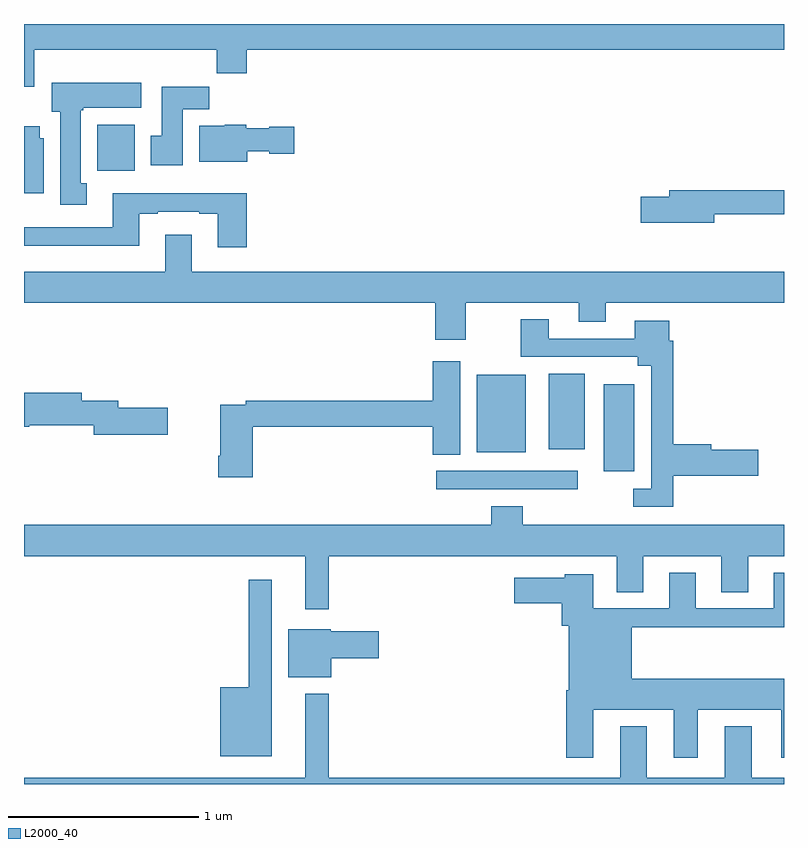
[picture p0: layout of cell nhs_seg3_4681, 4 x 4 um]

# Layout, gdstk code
import gdstk
lib = gdstk.Library(unit=1e-6, precision=1e-09)
def R(c, l, rs):  # rectangles x0, y0, x1, y1
    for r in rs: c.add(gdstk.rectangle(r[:2], r[2:], *l))
def P(c, l, *ps):  # polygons
    for p in ps: c.add(gdstk.Polygon(p, *l))
L2000_40 = (2000, 40)

nhs_seg3_4681 = lib.new_cell('nhs_seg3_4681')
R(nhs_seg3_4681, L2000_40, [(365.169,683.952,365.914,684.048), (366.05,684.047,366.211,684.505), (365.384,684.146,365.641,684.553), (365.762,684.161,365.95,684.559), (363.386,685.628,363.583,685.87)])
P(nhs_seg3_4681, L2000_40, [(363.055,686.264),(364.015,686.264),(364.015,686.14),(364.172,686.14),(364.172,686.264),(367,686.264),(367,686.4),(363,686.4),(363,686.07),(363.055,686.07)],
  [(363.331,685.562),(363.298,685.562),(363.298,685.945),(363.312,685.945),(363.312,685.958),(363.616,685.958),(363.616,686.092),(363.146,686.092),(363.146,685.938),(363.191,685.938),(363.191,685.449),(363.331,685.449)],
  [(363.835,685.952),(363.974,685.952),(363.974,686.071),(363.725,686.071),(363.725,685.812),(363.668,685.812),(363.668,685.656),(363.835,685.656)],
  [(364.174,685.73),(364.29,685.73),(364.29,685.718),(364.423,685.718),(364.423,685.86),(364.29,685.86),(364.29,685.852),(364.17,685.852),(364.17,685.87),(364.056,685.87),(364.056,685.864),(363.923,685.864),(363.923,685.676),(364.174,685.676)],
  [(363.103,685.8),(363.082,685.8),(363.082,685.861),(363,685.861),(363,685.508),(363.103,685.508)],
  [(366.634,685.398),(367,685.398),(367,685.526),(366.395,685.526),(366.395,685.49),(366.246,685.49),(366.246,685.355),(366.634,685.355)],
  [(364.172,685.51),(363.467,685.51),(363.467,685.329),(363,685.329),(363,685.232),(363.607,685.232),(363.607,685.401),(363.703,685.401),(363.703,685.413),(363.923,685.413),(363.923,685.401),(364.019,685.401),(364.019,685.224),(364.172,685.224)],
  [(365.325,684.932),(365.921,684.932),(365.921,684.833),(366.061,684.833),(366.061,684.932),(367,684.932),(367,685.096),(363.883,685.096),(363.883,685.291),(363.743,685.291),(363.743,685.096),(363,685.096),(363,684.932),(365.165,684.932),(365.165,684.738),(365.325,684.738)],
  [(366.416,684.023),(366.865,684.023),(366.865,684.158),(366.616,684.158),(366.616,684.187),(366.416,684.187),(366.416,684.734),(366.397,684.734),(366.397,684.838),(366.215,684.838),(366.215,684.744),(365.761,684.744),(365.761,684.847),(365.614,684.847),(365.614,684.648),(366.23,684.648),(366.23,684.602),(366.3,684.602),(366.3,683.955),(366.207,683.955),(366.207,683.859),(366.416,683.859)],
  [(364.205,684.28),(365.15,684.28),(365.15,684.133),(365.296,684.133),(365.296,684.625),(365.15,684.625),(365.15,684.416),(364.168,684.416),(364.168,684.396),(364.034,684.396),(364.034,684.127),(364.022,684.127),(364.022,684.015),(364.205,684.015)],
  [(363.757,684.38),(363.496,684.38),(363.496,684.416),(363.304,684.416),(363.304,684.459),(363,684.459),(363,684.28),(363.028,684.28),(363.028,684.287),(363.368,684.287),(363.368,684.238),(363.757,684.238)],
  [(364.603,683.6),(366.119,683.6),(366.119,683.41),(366.259,683.41),(366.259,683.6),(366.671,683.6),(366.671,683.41),(366.811,683.41),(366.811,683.6),(367,683.6),(367,683.764),(365.624,683.764),(365.624,683.863),(365.459,683.863),(365.459,683.764),(363,683.764),(363,683.6),(364.481,683.6),(364.481,683.319),(364.603,683.319)],
  [(365.995,682.79),(366.419,682.79),(366.419,682.539),(366.547,682.539),(366.547,682.79),(366.986,682.79),(366.986,682.539),(367,682.539),(367,682.954),(366.199,682.954),(366.199,683.224),(367,683.224),(367,683.512),(366.947,683.512),(366.947,683.325),(366.535,683.325),(366.535,683.512),(366.395,683.512),(366.395,683.325),(365.995,683.325),(365.995,683.503),(365.847,683.503),(365.847,683.485),(365.58,683.485),(365.58,683.351),(365.831,683.351),(365.831,683.232),(365.867,683.232),(365.867,682.894),(365.855,682.894),(365.855,682.539),(365.995,682.539)],
  [(364.303,683.476),(364.182,683.476),(364.182,682.909),(364.034,682.909),(364.034,682.547),(364.303,682.547)],
  [(364.618,683.063),(364.867,683.063),(364.867,683.205),(364.614,683.205),(364.614,683.215),(364.391,683.215),(364.391,682.961),(364.618,682.961)],
  [(367,682.432),(366.829,682.432),(366.829,682.705),(366.689,682.705),(366.689,682.432),(366.277,682.432),(366.277,682.705),(366.137,682.705),(366.137,682.432),(364.603,682.432),(364.603,682.876),(364.481,682.876),(364.481,682.432),(363,682.432),(363,682.4),(367,682.4)])

lib.write_gds('nhs_seg3_4681.gds')
